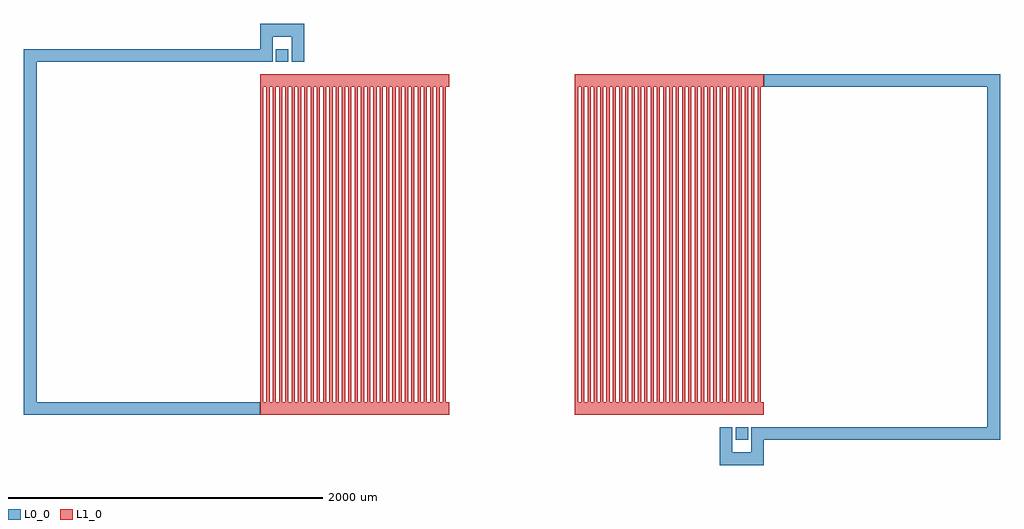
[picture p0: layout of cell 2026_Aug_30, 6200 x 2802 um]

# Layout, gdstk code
import gdstk
lib = gdstk.Library(unit=1e-6, precision=1e-09)
def R(c, l, rs):  # rectangles x0, y0, x1, y1
    for r in rs: c.add(gdstk.rectangle(r[:2], r[2:], *l))
def A(c, l, x, y, w, h, nx, ny, dx, dy):  # array of equal rectangles
    R(c, l, [(x+i*dx, y+j*dy, x+i*dx+w, y+j*dy+h) for i in range(nx) for j in range(ny)])
L0_0 = (0, 0)
L1_0 = (1, 0)

c_2026_aug_30 = lib.new_cell('2026_Aug_30')
R(c_2026_aug_30, L0_0, [(2920,-320,3200,-240), (2920,-320,3200,-240), (2920,-320,3200,-240), (2920,-320,3200,-240), (2920,-320,3200,-240), (2920,-320,3200,-240), (2920,-320,3200,-240), (2920,-320,3200,-240), (2920,-320,3200,-240), (2920,-320,3200,-240), (2920,-320,3200,-240), (2920,-320,3200,-240), (2920,-320,3200,-240), (2920,-320,3200,-240), (2920,-320,3200,-240), (2920,-240,3000,-80), (2920,-240,3000,-80), (2920,-240,3000,-80), (2920,-240,3000,-80), (2920,-240,3000,-80), (2920,-240,3000,-80), (2920,-240,3000,-80), (2920,-240,3000,-80), (2920,-240,3000,-80), (2920,-240,3000,-80), (2920,-240,3000,-80), (2920,-240,3000,-80), (2920,-240,3000,-80), (2920,-240,3000,-80), (2920,-240,3000,-80), (3120,-240,3200,-80), (3120,-240,3200,-80), (3120,-240,3200,-80), (3120,-240,3200,-80), (3120,-240,3200,-80), (3120,-240,3200,-80), (3120,-240,3200,-80), (3120,-240,3200,-80), (3120,-240,3200,-80), (3120,-240,3200,-80), (3120,-240,3200,-80), (3120,-240,3200,-80), (3120,-240,3200,-80), (3120,-240,3200,-80), (3120,-240,3200,-80), (3020,-160,3100,-80), (3020,-160,3100,-80), (3020,-160,3100,-80), (3020,-160,3100,-80), (3020,-160,3100,-80), (3020,-160,3100,-80), (3020,-160,3100,-80), (3020,-160,3100,-80), (3020,-160,3100,-80), (3020,-160,3100,-80), (3020,-160,3100,-80), (3020,-160,3100,-80), (3020,-160,3100,-80), (3020,-160,3100,-80), (3020,-160,3100,-80), (3200,-160,4700,-80), (3200,-160,4700,-80), (3200,-160,4700,-80), (3200,-160,4700,-80), (3200,-160,4700,-80), (3200,-160,4700,-80), (3200,-160,4700,-80), (3200,-160,4700,-80), (3200,-160,4700,-80), (3200,-160,4700,-80), (3200,-160,4700,-80), (3200,-160,4700,-80), (3200,-160,4700,-80), (3200,-160,4700,-80), (3200,-160,4700,-80), (4620,-80,4700,2082), (4620,-80,4700,2082), (4620,-80,4700,2082), (4620,-80,4700,2082), (4620,-80,4700,2082), (4620,-80,4700,2082), (4620,-80,4700,2082), (4620,-80,4700,2082), (4620,-80,4700,2082), (4620,-80,4700,2082), (4620,-80,4700,2082), (4620,-80,4700,2082), (4620,-80,4700,2082), (4620,-80,4700,2082), (4620,-80,4700,2082), (-1500,0,0,80), (-1500,0,0,80), (-1500,0,0,80), (-1500,0,0,80), (-1500,0,0,80), (-1500,0,0,80), (-1500,0,0,80), (-1500,0,0,80), (-1500,0,0,80), (-1500,0,0,80), (-1500,0,0,80), (-1500,0,0,80), (-1500,0,0,80), (-1500,0,0,80), (-1500,0,0,80), (-1500,80,-1420,2242), (-1500,80,-1420,2242), (-1500,80,-1420,2242), (-1500,80,-1420,2242), (-1500,80,-1420,2242), (-1500,80,-1420,2242), (-1500,80,-1420,2242), (-1500,80,-1420,2242), (-1500,80,-1420,2242), (-1500,80,-1420,2242), (-1500,80,-1420,2242), (-1500,80,-1420,2242), (-1500,80,-1420,2242), (-1500,80,-1420,2242), (-1500,80,-1420,2242), (3200,2082,4700,2162), (3200,2082,4700,2162), (3200,2082,4700,2162), (3200,2082,4700,2162), (3200,2082,4700,2162), (3200,2082,4700,2162), (3200,2082,4700,2162), (3200,2082,4700,2162), (3200,2082,4700,2162), (3200,2082,4700,2162), (3200,2082,4700,2162), (3200,2082,4700,2162), (3200,2082,4700,2162), (3200,2082,4700,2162), (3200,2082,4700,2162), (-1500,2242,0,2322), (-1500,2242,0,2322), (-1500,2242,0,2322), (-1500,2242,0,2322), (-1500,2242,0,2322), (-1500,2242,0,2322), (-1500,2242,0,2322), (-1500,2242,0,2322), (-1500,2242,0,2322), (-1500,2242,0,2322), (-1500,2242,0,2322), (-1500,2242,0,2322), (-1500,2242,0,2322), (-1500,2242,0,2322), (-1500,2242,0,2322), (0,2242,80,2402), (0,2242,80,2402), (0,2242,80,2402), (0,2242,80,2402), (0,2242,80,2402), (0,2242,80,2402), (0,2242,80,2402), (0,2242,80,2402), (0,2242,80,2402), (0,2242,80,2402), (0,2242,80,2402), (0,2242,80,2402), (0,2242,80,2402), (0,2242,80,2402), (0,2242,80,2402), (100,2242,180,2322), (100,2242,180,2322), (100,2242,180,2322), (100,2242,180,2322), (100,2242,180,2322), (100,2242,180,2322), (100,2242,180,2322), (100,2242,180,2322), (100,2242,180,2322), (100,2242,180,2322), (100,2242,180,2322), (100,2242,180,2322), (100,2242,180,2322), (100,2242,180,2322), (100,2242,180,2322), (200,2242,280,2402), (200,2242,280,2402), (200,2242,280,2402), (200,2242,280,2402), (200,2242,280,2402), (200,2242,280,2402), (200,2242,280,2402), (200,2242,280,2402), (200,2242,280,2402), (200,2242,280,2402), (200,2242,280,2402), (200,2242,280,2402), (200,2242,280,2402), (200,2242,280,2402), (200,2242,280,2402), (0,2402,280,2482), (0,2402,280,2482), (0,2402,280,2482), (0,2402,280,2482), (0,2402,280,2482), (0,2402,280,2482), (0,2402,280,2482), (0,2402,280,2482), (0,2402,280,2482), (0,2402,280,2482), (0,2402,280,2482), (0,2402,280,2482), (0,2402,280,2482), (0,2402,280,2482), (0,2402,280,2482)])
A(c_2026_aug_30, L1_0, 0, 0, 80, 80, 15, 2, 80, 2082)
A(c_2026_aug_30, L1_0, 2000, 0, 80, 80, 15, 2, 80, 2082)
A(c_2026_aug_30, L1_0, 40, 80, 20, 2000, 15, 1, 80, 0)
A(c_2026_aug_30, L1_0, 2040, 80, 20, 2000, 15, 1, 80, 0)
A(c_2026_aug_30, L1_0, 0, 82, 20, 2000, 15, 1, 80, 0)
A(c_2026_aug_30, L1_0, 2000, 82, 20, 2000, 15, 1, 80, 0)

lib.write_gds('2026_Aug_30.gds')
